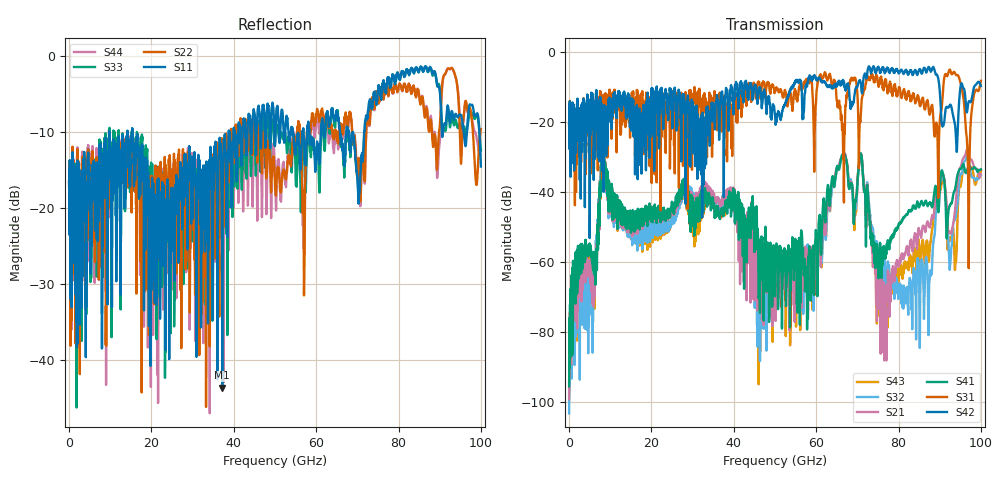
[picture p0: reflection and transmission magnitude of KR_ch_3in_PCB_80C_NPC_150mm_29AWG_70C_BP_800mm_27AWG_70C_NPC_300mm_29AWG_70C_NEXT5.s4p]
# GHz S RI R 45
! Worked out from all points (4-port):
!   4000 points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, 25 MHz to 100 GHz, reference 45 ohm
!   strongest paths, dB at 25 MHz, 25.02 GHz, 50.02 GHz, 75.03 GHz, 100 GHz:
!     S42: -20.7, -17.7, -18.0, -4.4, -9.7
!     S31: -20.7, -12.3, -11.3, -8.6, -8.3
!     S41: -95.5, -43.7, -65.6, -58.2, -33.6
!     S21: -99.2, -45.3, -62.2, -64.7, -35.0
!     S32: -103.3, -47.7, -74.6, -57.2, -35.3
!     S43: -98.0, -47.3, -69.5, -64.8, -34.1
!   lowest |S11| = -43.7 dB at 37.2 GHz (marker M1), VSWR 1.01, Z = 44.7 - j0.483 ohm
!   |S11| at or under -10 dB: start of sweep to 9.799 GHz; 9.802 GHz to 14.2 GHz (4.396 GHz wide, 36.6 % of centre); 15.36 GHz to 38.77 GHz (23.41 GHz wide, 86.5 % of centre)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
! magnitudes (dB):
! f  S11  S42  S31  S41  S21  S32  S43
! 25 MHz  -16.6  -20.7  -20.7  -95.5  -99.2  -103.3  -98.0
! 8.25 GHz  -17.2  -19.5  -18.1  -28.1  -28.6  -28.8  -28.5
! 37.2 GHz  -43.7  -11.6  -20.8  -45.6  -42.8  -44.0  -46.0
! 46.1 GHz  -6.8  -10.7  -8.6  -68.2  -73.8  -63.9  -65.6
! 70.8 GHz  -15.4  -8.8  -18.6  -29.0  -29.9  -29.6  -29.1
! 76.75 GHz  -4.8  -5.6  -7.8  -57.6  -67.9  -60.4  -65.1
! 100 GHz  -14.6  -9.7  -8.3  -33.6  -35.0  -35.3  -34.1
